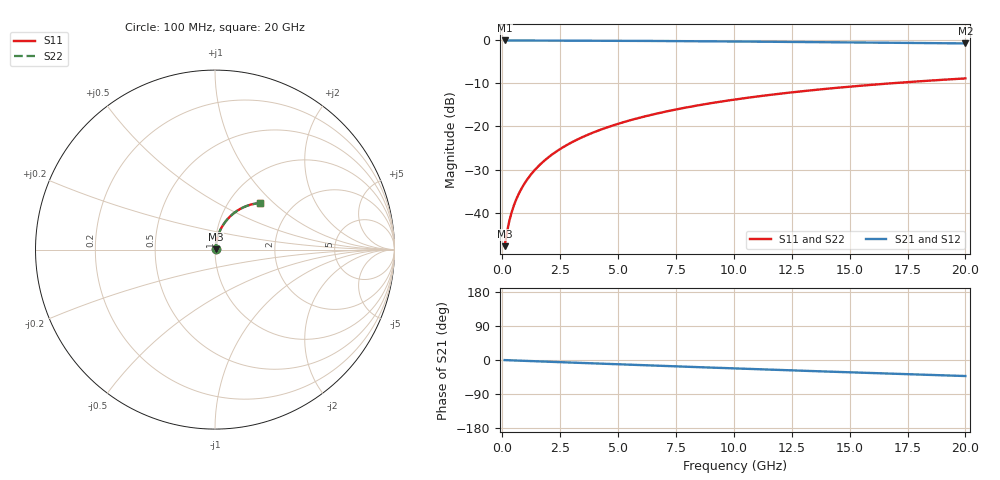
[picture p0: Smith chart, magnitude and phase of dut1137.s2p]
! Touchstone file exported from HFSS 2026.1.0
!  File:  C:/ffzhzh/LocalFiles/Ansys_Project_Files/temp_train_BSMRDL_1137_1783175378_43440.aedt
!  Generated:  10:30:51 PM Jul  4, 2026
!  Design:  BSMRDL
!  Project:  temp_train_BSMRDL_1137_1783175378_43440
! Variables:
!  h_bsmrdl = 3.53um
!  h_ox = 20um
!  h_rdl = 5um
!  h_sub = 80um
!  h_tmrdl = 5um
!  h_tsv = 80um
!  h_via = 3um
!  l_bsmrdl = 636.03um
!  l_sub = 1036.03um
!  l_tmrdl = 200um
!  m_sub = 200um
!  pitch = 42.89um
!  r_tsv = 6um
!  s_tmrdl = 10um
!  w_bsmrdl = 20.71um
!  w_sub = 500um
!  w_tmrdl = 12um
!  x_tsv_center1 = 206um
!  x_tsv_center2 = 862.74um
!  x_tsv_center3 = 1074.74um
!  x_tsv_center4 = 1731.48um
!  x_tsv_center5 = 1943.48um
!  x_tsv_center6 = 2600.22um
# GHz S MA R 50.000000
! Terminal data exported
! Port[1] = BSM_RDL1_1_T1
! Port[2] = BSM_RDL1_1_T2
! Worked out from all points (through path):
!   200 points, 100 MHz to 20 GHz, reference 50 ohm
!   highest |S21| = -0.03 dB at 100 MHz (marker M1); lowest = -0.7 dB at 20 GHz (marker M2)
!   group delay of S21, straight-line fit = 5.88 ps
!   lowest |S11| = -47.8 dB at 100 MHz (marker M3), VSWR 1.01, Z = 50.3 + j0.244 ohm
!   |S11| at or under -10 dB: start of sweep to 16.74 GHz
!   |S22| runs from -47.8 to -8.8 dB; largest |S21 - S12| = 3.5e-15
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0.1  0.004073 36.5  0.9967 -0.2  0.9967 -0.2  0.004073 36.5
! Gamma 0 0 0 0
! Port Impedance 50 0 50 0
0.2  0.005888 54.1  0.9966 -0.5  0.9966 -0.5  0.005889 54.1
0.3  0.007927 62.4  0.9964 -0.7  0.9964 -0.7  0.007927 62.4
0.4  0.01 67.1  0.9962 -0.9  0.9962 -0.9  0.01 67.1
0.5  0.01208 70.2  0.9961 -1.2  0.9961 -1.2  0.01208 70.2
0.6  0.01417 72.4  0.996 -1.4  0.996 -1.4  0.01417 72.4
0.8  0.01837 75.3  0.9958 -1.8  0.9958 -1.8  0.01837 75.3
1.1  0.02473 77.6  0.9955 -2.5  0.9955 -2.5  0.02473 77.6
1.3  0.029 78.5  0.9953 -3.0  0.9953 -3.0  0.029 78.5
1.6  0.03543 79.2  0.995 -3.7  0.995 -3.7  0.03543 79.2
2.1  0.04616 79.5  0.9944 -4.8  0.9944 -4.8  0.04616 79.5
2.7  0.05901 79.1  0.9934 -6.1  0.9934 -6.1  0.05901 79.1
3.5  0.07601 78.1  0.9919 -7.9  0.9919 -7.9  0.07601 78.1
4.2  0.09072 76.9  0.9902 -9.5  0.9902 -9.5  0.09072 76.9
5  0.1073 75.4  0.9881 -11.3  0.9881 -11.3  0.1073 75.4
5.9  0.1257 73.7  0.9854 -13.3  0.9854 -13.3  0.1257 73.6
6.8  0.1437 71.8  0.9823 -15.3  0.9823 -15.3  0.1437 71.8
8.3  0.1729 68.8  0.9768 -18.5  0.9768 -18.5  0.1729 68.8
10.1  0.2065 65.1  0.9694 -22.4  0.9694 -22.4  0.2065 65.1
13.4  0.2639 58.5  0.9541 -29.2  0.9541 -29.2  0.2639 58.5
16.7  0.3156 52.1  0.9376 -35.9  0.9376 -35.9  0.3156 52.1
20  0.3612 45.9  0.9206 -42.3  0.9206 -42.3  0.3613 45.8
